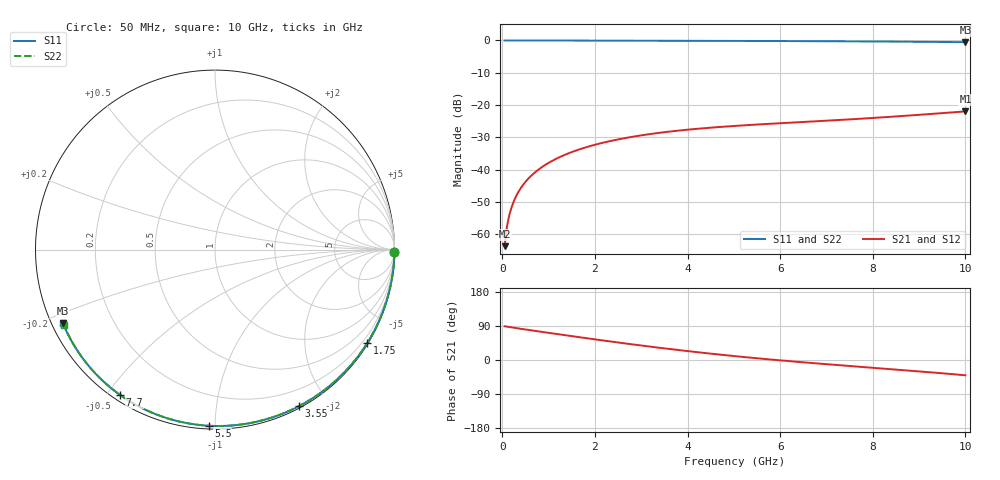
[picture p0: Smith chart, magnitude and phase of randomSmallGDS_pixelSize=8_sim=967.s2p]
! freq	dB(S11)	phase(S11)	dB(S12)	phase(S12)
!  dB(S21)	phase(S21)	dB(S22)	phase(S22)
!S-par simulation data
#  GHz  S  DB  R 50
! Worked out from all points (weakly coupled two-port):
!   200 points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, 50 MHz to 10 GHz, reference 50 ohm
!   highest |S21| = -21.95 dB at 10 GHz (marker M1); lowest = -63.7 dB at 50 MHz (marker M2)
!   lowest |S11| = -0.5 dB at 10 GHz (marker M3), VSWR 33.02, Z = 1.59 - j11.4 ohm
!   |S11| at or under -10 dB: nowhere
!   |S22| runs from -0.5 to 0.0 dB; largest |S21 - S12| = 0
!   S11 on the Smith chart (normalised r, x): 50 MHz: open; 1.75 GHz: 0.03, -3.55; 3.55 GHz: 0.02, -1.67; 5.5 GHz: 0.02, -0.96; 7.7 GHz: 0.02, -0.54; 10 GHz: 0.03, -0.23
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0.05  -0.00 -0.9  -63.65 89.0  -63.65 89.0  -0.00 -0.9
0.1  -0.00 -1.8  -57.64 88.0  -57.64 88.0  -0.00 -1.8
0.15  -0.00 -2.7  -54.12 87.0  -54.12 87.0  -0.00 -2.7
0.2  -0.00 -3.7  -51.63 86.1  -51.63 86.1  -0.00 -3.6
0.25  -0.00 -4.6  -49.71 85.1  -49.71 85.1  -0.00 -4.6
0.35  -0.00 -6.4  -46.81 83.3  -46.81 83.3  -0.00 -6.4
0.5  -0.01 -9.1  -43.75 80.5  -43.75 80.5  -0.01 -9.1
0.7  -0.01 -12.7  -40.89 77.0  -40.89 77.0  -0.01 -12.7
1  -0.02 -18.1  -37.88 71.7  -37.88 71.7  -0.02 -18.0
1.35  -0.03 -24.4  -35.39 65.6  -35.39 65.6  -0.03 -24.2
1.75  -0.04 -31.4  -33.31 58.7  -33.31 58.7  -0.04 -31.3
2.5  -0.06 -44.4  -30.62 46.2  -30.62 46.2  -0.06 -44.2
3.4  -0.08 -59.4  -28.56 32.2  -28.56 32.2  -0.08 -59.2
3.55  -0.09 -61.9  -28.30 29.9  -28.30 29.9  -0.09 -61.6
4.3  -0.11 -73.9  -27.22 19.4  -27.22 19.4  -0.11 -73.5
5.05  -0.14 -85.4  -26.41 9.8  -26.41 9.8  -0.14 -85.0
5.5  -0.16 -92.1  -26.01 4.5  -26.01 4.5  -0.16 -91.7
6.7  -0.22 -109.3  -25.07 -8.1  -25.07 -8.1  -0.22 -108.9
7.7  -0.29 -123.2  -24.25 -17.6  -24.25 -17.6  -0.29 -122.6
8.35  -0.34 -132.0  -23.66 -23.7  -23.66 -23.7  -0.34 -131.4
9.2  -0.43 -143.4  -22.81 -32.0  -22.81 -32.0  -0.43 -142.8
10  -0.53 -154.3  -21.95 -40.3  -21.95 -40.3  -0.53 -153.6
